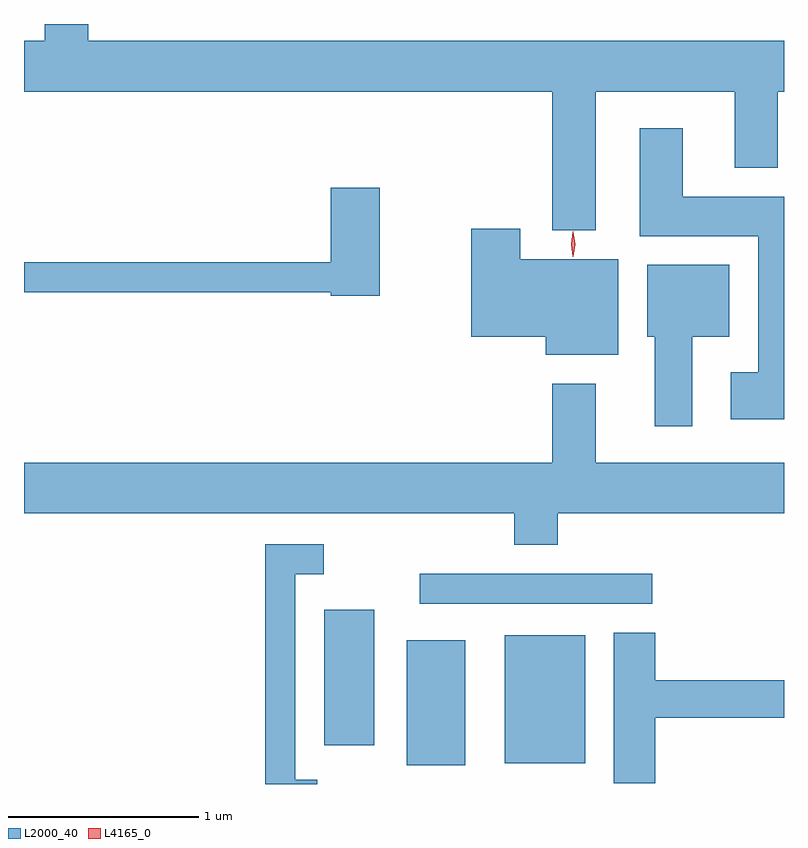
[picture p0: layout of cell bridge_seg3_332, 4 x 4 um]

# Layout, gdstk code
import gdstk
lib = gdstk.Library(unit=1e-6, precision=1e-09)
def R(c, l, rs):  # rectangles x0, y0, x1, y1
    for r in rs: c.add(gdstk.rectangle(r[:2], r[2:], *l))
def P(c, l, *ps):  # polygons
    for p in ps: c.add(gdstk.Polygon(p, *l))
L2000_40 = (2000, 40)
L4165_0 = (4165, 0)

bridge_seg3_332 = lib.new_cell('bridge_seg3_332')
R(bridge_seg3_332, L2000_40, [(598.986,1120.251,599.294,1120.909), (599.501,1120.261,599.924,1120.934), (598.551,1120.356,598.814,1121.069), (599.053,1121.101,600.278,1121.259)])
P(bridge_seg3_332, L2000_40, [(599.979,1123.796),(600.711,1123.796),(600.711,1123.396),(600.939,1123.396),(600.939,1123.796),(600.971,1123.796),(600.971,1124.064),(597.309,1124.064),(597.309,1124.152),(597.081,1124.152),(597.081,1124.064),(596.971,1124.064),(596.971,1123.796),(599.751,1123.796),(599.751,1123.066),(599.979,1123.066)],
  [(600.971,1123.244),(600.439,1123.244),(600.439,1123.604),(600.211,1123.604),(600.211,1123.036),(600.836,1123.036),(600.836,1122.319),(600.691,1122.319),(600.691,1122.071),(600.971,1122.071)],
  [(598.844,1123.289),(598.586,1123.289),(598.586,1122.899),(596.971,1122.899),(596.971,1122.741),(598.586,1122.741),(598.586,1122.721),(598.844,1122.721)],
  [(600.099,1122.914),(599.584,1122.914),(599.584,1123.074),(599.326,1123.074),(599.326,1122.506),(599.716,1122.506),(599.716,1122.411),(600.099,1122.411)],
  [(600.489,1122.506),(600.684,1122.506),(600.684,1122.884),(600.251,1122.884),(600.251,1122.506),(600.291,1122.506),(600.291,1122.036),(600.489,1122.036)],
  [(599.779,1121.576),(600.971,1121.576),(600.971,1121.844),(599.979,1121.844),(599.979,1122.259),(599.751,1122.259),(599.751,1121.844),(596.971,1121.844),(596.971,1121.576),(599.551,1121.576),(599.551,1121.411),(599.779,1121.411)],
  [(598.514,1120.174),(598.399,1120.174),(598.399,1121.256),(598.548,1121.256),(598.548,1121.414),(598.241,1121.414),(598.241,1120.152),(598.514,1120.152)],
  [(600.294,1120.501),(600.971,1120.501),(600.971,1120.699),(600.294,1120.699),(600.294,1120.949),(600.076,1120.949),(600.076,1120.156),(600.294,1120.156)])
P(bridge_seg3_332, L4165_0, [(599.86,1122.926),(599.851,1122.993),(599.86,1123.059),(599.861,1123.06),(599.861,1123.059),(599.871,1122.993),(599.861,1122.926),(599.861,1122.926)])

lib.write_gds('bridge_seg3_332.gds')
